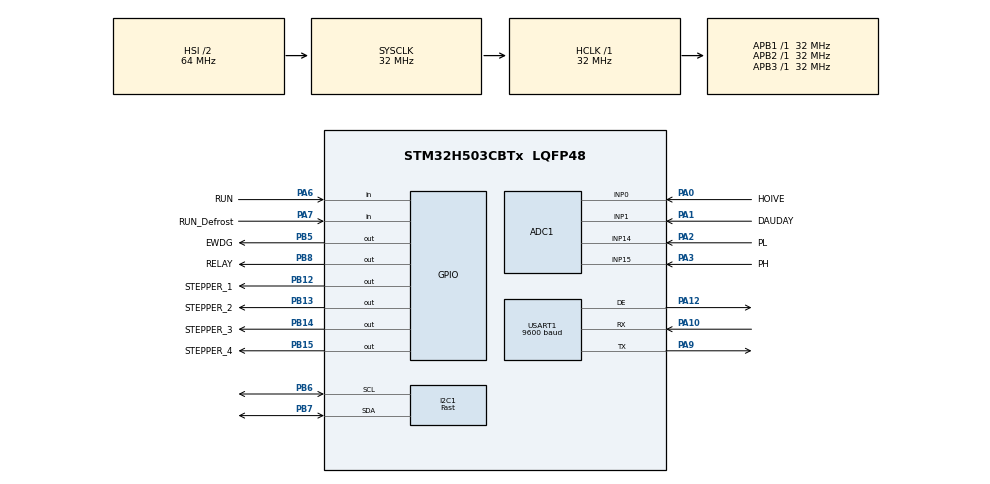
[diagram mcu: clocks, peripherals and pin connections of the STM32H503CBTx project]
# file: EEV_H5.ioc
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ADC1.Channel-3\#ChannelRegularConversion=ADC_CHANNEL_0
ADC1.EnableRegularConversion=ENABLE
ADC1.MonitoredBy-3\#ChannelRegularConversion=__NULL
ADC1.NbrOfConversionFlag=1
ADC1.OffsetNumber-3\#ChannelRegularConversion=ADC_OFFSET_NONE
ADC1.OversamplingMode=DISABLE
ADC1.Rank-3\#ChannelRegularConversion=1
ADC1.SamplingTime-3\#ChannelRegularConversion=ADC_SAMPLETIME_247CYCLES_5
ADC1.master=1
BOOTPATH.BootPathName=LEGACY
BOOTPATH.UserSelectedBootPath=LEGACY
GPDMA1.DESTINC_GPDMACH0=DMA_DINC_INCREMENTED
GPDMA1.DIRECTION_GPDMACH1=DMA_MEMORY_TO_PERIPH
GPDMA1.IPHANDLE_GPDMACH0-SIMPLEREQUEST_GPDMACH0=__NULL
GPDMA1.IPHANDLE_GPDMACH1-SIMPLEREQUEST_GPDMACH1=__NULL
GPDMA1.REQUEST_GPDMACH0=GPDMA1_REQUEST_USART1_RX
GPDMA1.REQUEST_GPDMACH1=GPDMA1_REQUEST_USART1_TX
GPDMA1.SRCINC_GPDMACH1=DMA_SINC_INCREMENTED
GPDMA1.TRANSFERALLOCATEDPORTDEST_GPDMACH0=DMA_DEST_ALLOCATED_PORT1
GPDMA1.TRANSFERALLOCATEDPORTDEST_GPDMACH1=DMA_DEST_ALLOCATED_PORT1
I2C1.I2C_Speed_Mode=I2C_Fast
I2C1.Timing=0x00300F38
IWDG.Prescaler=IWDG_PRESCALER_64
IWDG.Reload=2999
IWDG.Window=0
Mcu.Family=STM32H5
Mcu.Name=STM32H503CBTx
Mcu.Package=LQFP48
NVIC.GPDMA1_Channel0_IRQn=true\:0\:0\:false\:false\:true\:false\:true\:true
NVIC.GPDMA1_Channel1_IRQn=true\:0\:0\:false\:false\:true\:false\:true\:true
NVIC.PriorityGroup=NVIC_PRIORITYGROUP_4
NVIC.TIM2_IRQn=true\:0\:0\:false\:false\:true\:true\:true\:true
NVIC.TIM3_IRQn=true\:0\:0\:false\:false\:true\:true\:true\:true
NVIC.USART1_IRQn=true\:1\:0\:true\:false\:true\:true\:true\:true
PA0.GPIO_Label=HOIVE
PA0.Signal=ADCx_INP0
PA1.GPIO_Label=DAUDAY
PA1.Signal=ADCx_INP1
PA10.Mode=Asynchronous
PA10.Signal=USART1_RX
PA12.Mode=Hardware Flow Control (RS485)
PA12.Signal=USART1_DE
PA2.GPIO_Label=PL
PA2.Signal=ADCx_INP14
PA3.GPIO_Label=PH
PA3.Signal=ADCx_INP15
PA6.GPIO_Label=RUN
PA6.Signal=GPIO_Input
PA7.GPIO_Label=RUN_Defrost
PA7.Signal=GPIO_Input
PA9.Mode=Asynchronous
PA9.Signal=USART1_TX
PB12.GPIO_Label=STEPPER_1
PB12.PinState=GPIO_PIN_SET
PB12.Signal=GPIO_Output
PB13.GPIO_Label=STEPPER_2
PB13.PinState=GPIO_PIN_SET
PB13.Signal=GPIO_Output
PB14.GPIO_Label=STEPPER_3
PB14.PinState=GPIO_PIN_SET
PB14.Signal=GPIO_Output
PB15.GPIO_Label=STEPPER_4
PB15.PinState=GPIO_PIN_SET
PB15.Signal=GPIO_Output
PB5.GPIO_Label=EWDG
PB5.Signal=GPIO_Output
PB6.Mode=I2C
PB6.Signal=I2C1_SCL
PB7.Mode=I2C
PB7.Signal=I2C1_SDA
PB8.GPIO_Label=RELAY
PB8.Signal=GPIO_Output
ProjectManager.HeapSize=0x200
ProjectManager.StackSize=0x400
ProjectManager.TargetToolchain=STM32CubeIDE
RCC.ADCFreq_Value=32000000
RCC.AHBFreq_Value=32000000
RCC.APB1Freq_Value=32000000
RCC.APB1TimFreq_Value=32000000
RCC.APB2Freq_Value=32000000
RCC.APB2TimFreq_Value=32000000
RCC.APB3Freq_Value=32000000
RCC.CSI_VALUE=4000000
RCC.CortexFreq_Value=32000000
RCC.EPOD_VALUE=4000000
RCC.HCLKFreq_Value=32000000
RCC.HSE_VALUE=25000000
RCC.HSI48_VALUE=48000000
RCC.HSI_VALUE=64000000
RCC.LSE_VALUE=32768
RCC.LSIRC_VALUE=32000
RCC.SYSCLKFreq_VALUE=32000000
RCC.USBFreq_Value=48000000
RCC.VCOOutputFreq_Value=516000000
SH.ADCx_INP0.0=ADC1_INP0,IN0-Single-Ended
SH.ADCx_INP1.0=ADC1_INP1,IN1-Single-Ended
SH.ADCx_INP14.0=ADC1_INP14,IN14-Single-Ended
SH.ADCx_INP15.0=ADC1_INP15,IN15-Single-Ended
TIM2.PeriodNoDither=1279
TIM2.Prescaler=999
USART1.BaudRate=9600
USART1.VirtualMode-Asynchronous=VM_ASYNC
USART1.VirtualMode-Hardware\ Flow\ Control\ (RS485)=VM_ASYNC
VP_ADC1_Vref_Input.Mode=IN-Vrefint
VP_BOOTPATH_VS_BOOTPATH.Mode=BP_Activate
VP_CORTEX_M33_NS_VS_Hclk.Mode=Hclk_Mode
VP_GPDMA1_VS_GPDMACH0.Mode=SIMPLEREQUEST_GPDMACH0
VP_GPDMA1_VS_GPDMACH1.Mode=SIMPLEREQUEST_GPDMACH1
VP_IWDG_VS_IWDG.Mode=IWDG_Activate
VP_MEMORYMAP_VS_MEMORYMAP.Mode=CurAppReg
VP_PWR_VS_DBSignals.Mode=DisableDeadBatterySignals
VP_PWR_VS_LPOM.Mode=PowerOptimisation
VP_PWR_VS_SECSignals.Mode=Security/Privilege
VP_TIM2_VS_ClockSourceINT.Mode=Internal
VP_TIM3_VS_ClockSourceINT.Mode=Internal
board=custom

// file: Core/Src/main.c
/* USER CODE BEGIN Header */
/**
  ******************************************************************************
  * @file           : main.c
  * @brief          : Main program body
  ******************************************************************************
  * @attention
  *
  * Copyright (c) 2025 STMicroelectronics.
  * All rights reserved.
  *
  * This software is licensed under terms that can be found in the LICENSE file
  * in the root directory of this software component.
  * If no LICENSE file comes with this software, it is provided AS-IS.
  *
  ******************************************************************************
  */
/* USER CODE END Header */
#include "main.h"

/* USER CODE BEGIN Includes */
#include "Input_parameters.h"
#include "pid_final.h"
#include "stepper_v2.h"
#include "R507_temp_pressure.h"
#include "modbus_slave.h"
#include "stm32h5xx_ll_system.h"
#include "stm32h5xx_ll_gpio.h"
#include "eeprom.h"
/* USER CODE END Includes */

ADC_HandleTypeDef hadc1;

I2C_HandleTypeDef hi2c1;

IWDG_HandleTypeDef hiwdg;

TIM_HandleTypeDef htim2;
TIM_HandleTypeDef htim3;

UART_HandleTypeDef huart1;
DMA_HandleTypeDef handle_GPDMA1_Channel1;
DMA_HandleTypeDef handle_GPDMA1_Channel0;

/* USER CODE BEGIN PV */
Stepper motor;
PID_TypeDef pid;
ModbusHandle modbus_slave;
/* USER CODE END PV */

void SystemClock_Config(void);
static void MX_GPIO_Init(void);
static void MX_GPDMA1_Init(void);
static void MX_ADC1_Init(void);
static void MX_USART1_UART_Init(void);
static void MX_TIM2_Init(void);
static void MX_IWDG_Init(void);
static void MX_I2C1_Init(void);
static void MX_TIM3_Init(void);

/* USER CODE BEGIN 0 */
uint16_t step_position;
float percent_step;
volatile uint8_t state_motor_step;
volatile uint32_t last_time_step;

/////////////////////////////////////////// calcular superheat
float Saturation_temperature;
volatile float delta_temperatute;
float superheat_value(){
	Saturation_temperature = R507_GetTemperature(pressure_sensors.low_pressure_sensor);
	delta_temperatute = temperature_sensors.hoi_ve - Saturation_temperature;
	return delta_temperatute;
}

/////////////////////////////////////////// timer2 calcular pid
volatile uint8_t count = 0;
volatile float output_pid = 0.0f;
volatile int16_t stepp_count = 0;
#define BUFFER_SIZE 64
volatile int16_t stepp_buffer[BUFFER_SIZE];  // Mảng lưu trữ dữ liệu
volatile uint8_t buffer_index = 0;  // Chỉ mục cho mảng

/////////////////////////////////////////// Communication Protocol (Modbus)
volatile uint32_t lastvalidIDTime;
void reset_uart(){
	static uint8_t count_reset = 0;
	  if((uint32_t)(HAL_GetTick() - lastvalidIDTime) >= 6000){
		    // First, disable interrupts
		  if(count_reset <= 2){
			  HAL_UART_AbortReceive(&huart1);
			  HAL_Delay(10);
			  modbus_slave.state = MODBUS_READY;
			  HAL_UARTEx_ReceiveToIdle_DMA(&huart1, modbus_slave.rxBuffer, MODBUS_RX_BUFFER_SIZE);
			  count_reset ++;
			  lastvalidIDTime = HAL_GetTick();
		  }else{
			  // 1. Dừng quá trình truy�?n nhận đang diễn ra
			  HAL_UART_AbortReceive(&huart1);
			  HAL_UART_AbortTransmit(&huart1);
			  // 2. Dừng DMA
			  HAL_UART_DMAStop(&huart1);
			  // 3. Deinit UART
			  HAL_UART_DeInit(&huart1);
			  HAL_Delay(10);  // Ch�? cho quá trình deinit hoàn tất
			  // 4. Khởi tạo lại DMA
			  MX_GPDMA1_Init();
			  HAL_Delay(10);
			  // 5. Khởi tạo lại UART
			  MX_USART1_UART_Init();
			  HAL_Delay(10);
			  // 6. Khởi tạo lại Modbus
			  modbus_slave.state = MODBUS_READY;
			  HAL_UARTEx_ReceiveToIdle_DMA(&huart1, modbus_slave.rxBuffer, MODBUS_RX_BUFFER_SIZE);
			  count_reset = (count_reset <= 6) ? (count_reset + 1) : 0;
			  lastvalidIDTime = HAL_GetTick();
		  }
	  }
}
//////////////////////////////////////////////
int16_t find_max_value() {
	    if (BUFFER_SIZE <= 0) return 0;
	    int16_t max_abs_value = stepp_buffer[0];
	    int16_t abs_max = max_abs_value < 0 ? -max_abs_value : max_abs_value;
	        uint8_t i = 1;
	        for (; i + 3 < BUFFER_SIZE; i += 4) {
	            // Xử lý 4 phần tử mỗi lần
	            int16_t current0 = stepp_buffer[i];
	            int16_t abs0 = current0 < 0 ? -current0 : current0;
	            int update0 = (abs0 > abs_max) || (abs0 == abs_max && current0 > max_abs_value);
	            max_abs_value = update0 ? current0 : max_abs_value;
	            abs_max = update0 ? abs0 : abs_max;

	            int16_t current1 = stepp_buffer[i + 1];
	            int16_t abs1 = current1 < 0 ? -current1 : current1;
	            int update1 = (abs1 > abs_max) || (abs1 == abs_max && current1 > max_abs_value);
	            max_abs_value = update1 ? current1 : max_abs_value;
	            abs_max = update1 ? abs1 : abs_max;

	            int16_t current2 = stepp_buffer[i + 2];
	            int16_t abs2 = current2 < 0 ? -current2 : current2;
	            int update2 = (abs2 > abs_max) || (abs2 == abs_max && current2 > max_abs_value);
	            max_abs_value = update2 ? current2 : max_abs_value;
	            abs_max = update2 ? abs2 : abs_max;

	            int16_t current3 = stepp_buffer[i + 3];
	            int16_t abs3 = current3 < 0 ? -current3 : current3;
	            int update3 = (abs3 > abs_max) || (abs3 == abs_max && current3 > max_abs_value);
	            max_abs_value = update3 ? current3 : max_abs_value;
	            abs_max = update3 ? abs3 : abs_max;
	        }
	        return max_abs_value;
}
void control_stepper(){
	uint32_t current_time = HAL_GetTick();
	float error = fabsf(pid.setpoint - delta_temperatute);
	static const float k = 0.6f;
	static const uint32_t time_min = 500, time_max = 10000;
	uint32_t delay_time = time_min + (uint32_t)((time_max - time_min) / (1.0f + k * error));
	if(((uint32_t)(current_time - last_time_step) >= delay_time) && Stepper_IsMoving(&motor) == 0){
		Stepper_Move(&motor, find_max_value());
		volatile int16_t *ptr = stepp_buffer;
		for (int i = 0; i < BUFFER_SIZE; i += 8) {
		    *ptr++ = 0; *ptr++ = 0; *ptr++ = 0; *ptr++ = 0;
		    *ptr++ = 0; *ptr++ = 0; *ptr++ = 0; *ptr++ = 0;
		}
	}
}
// �?ịnh nghĩa các trạng thái
typedef enum {
    STATE_INIT,         // Trạng thái khởi tạo ban đầu
    STATE_CLOSING,      // �?óng van (500 bước)
    STATE_OPENING,      // Mở van (200 bước)
    STATE_CONTROL_EEV,      // Ch�? 15s
    STATE_IDLE_EEV
} SystemState;
// Biến toàn cục
SystemState current_state_eev = STATE_INIT;
uint32_t timer = 0;
uint8_t init_done = 0;      // C�? đánh dấu đã hoàn thành khởi tạo

int16_t nhiet_do_bat_lam_mat = 85;
int16_t nhiet_do_tat_lam_mat = 75;
void lam_mat_dau_day(){
	if(temperature_sensors.dau_day >= (float)(nhiet_do_bat_lam_mat)){
		HAL_GPIO_WritePin(RELAY_GPIO_Port, RELAY_Pin, GPIO_PIN_RESET);
	}else if(temperature_sensors.dau_day <= (float)(nhiet_do_tat_lam_mat)){
		HAL_GPIO_WritePin(RELAY_GPIO_Port, RELAY_Pin, GPIO_PIN_SET);
	}
}
void convert_setpoint(){
    static const struct {
        float pressure_threshold;
        float target_temp_diff;
    } lookup_table[] = {
        { 23.0f, 5.0f },
        { 20.0f, 7.0f },
        { 17.0f, 9.0f },
        { 15.0f, 11.0f},
        { 0.0f, 13.0f }
    };
    static float last_setpoint = -1;  // Lưu giá trị cũ
    float new_setpoint = pid.setpoint;
    static uint8_t waiting = 0;
    static uint32_t change_time = 0;
    GPIO_PinState state_pin_relay = HAL_GPIO_ReadPin(RELAY_GPIO_Port, RELAY_Pin);
    static uint8_t last_state = 1;
    static uint8_t is_waiting = 0;
    static uint32_t time_changed = 0;
    // Lấy giá trị áp suất
    float high_pressure = pressure_sensors.high_pressure_sensor;

    if(last_state == 0 && state_pin_relay == 1){
    	time_changed = HAL_GetTick();
    	is_waiting = 1;
    }
    last_state = state_pin_relay;

     // Duyệt bảng để tìm giá trị TARGET_TEMP_DIFF phù hợp
    if(state_pin_relay == 1){
    	 uint32_t current_time = HAL_GetTick();
    	 if(!is_waiting || ((uint32_t)(current_time - time_changed) >= 16000)){
             is_waiting = 0;
			 for (int i = 0; i < sizeof(lookup_table) / sizeof(lookup_table[0]); i++) {
				 if (high_pressure >= lookup_table[i].pressure_threshold) {
						 new_setpoint = lookup_table[i].target_temp_diff;
						 break;  // Thoát kh�?i vòng lặp sau khi tìm thấy ngưỡng phù hợp
				 }
			 }
		}
    }

     if(new_setpoint != last_setpoint){
    	 if(!waiting){
    		 change_time = HAL_GetTick();
    		 waiting = 1;
    	 }
    	 if((uint32_t)(HAL_GetTick() - change_time) >= 8000){
    		 pid.setpoint = new_setpoint;
    		 last_setpoint = new_setpoint;
    		 waiting = 0;
    	 }
     }else{
    	 waiting = 0;
     }
}
void control_EEV(){
	static uint8_t check_run_defrost = 0;
	GPIO_PinState pin_state_run = HAL_GPIO_ReadPin(RUN_GPIO_Port, RUN_Pin);
	GPIO_PinState pin_state_run_defrost = HAL_GPIO_ReadPin(RUN_Defrost_GPIO_Port, RUN_Defrost_Pin);
	switch(pin_state_run_defrost){
	case GPIO_PIN_SET:
		if(check_run_defrost == 0 && !Stepper_IsMoving(&motor)){
			check_run_defrost = 1;
        	step_position = 0;
        	percent_step = 0.0f;
            Stepper_Move(&motor, -500);
            current_state_eev = STATE_OPENING;
		}
		break;
	case GPIO_PIN_RESET:
		check_run_defrost = 0;
		   // Xử lý theo trạng thái hiện tại
		    switch(current_state_eev) {
		        case STATE_INIT:
		            // Luôn bắt đầu bằng việc đóng 500 bước khi khởi tạo
		            if(!Stepper_IsMoving(&motor)) {
		            	step_position = 500;
		            	percent_step = 100.0f;
		                Stepper_Move(&motor, 500);
		                current_state_eev = STATE_CLOSING;
		                init_done = 0;  // �?ánh dấu chưa hoàn thành khởi tạo
		            }
		            break;

		        case STATE_CLOSING:
		            if(!Stepper_IsMoving(&motor)) {
		                if(!init_done) {
		                    // Nếu đây là lần đóng đầu tiên (khởi tạo)
		                    init_done = 1;
		                    // Nếu chân input đang ở mức cao, chuyển sang mở
		                    if(pin_state_run == GPIO_PIN_SET) {
		                        Stepper_Move(&motor, -250);
		                        current_state_eev = STATE_OPENING;
		                    } else {
		                    	current_state_eev = STATE_IDLE_EEV;  // Ch�? mức cao
		                    }
		                } else {
		                    // Nếu đây là lần đóng trong quá trình hoạt động bình thư�?ng
		                	current_state_eev = STATE_IDLE_EEV;
		                }
		            }
		            break;

		        case STATE_IDLE_EEV:
		        	if(!Stepper_IsMoving(&motor)){
		        		if(pin_state_run == GPIO_PIN_SET){
		        		    Stepper_Move(&motor, -250);
		        		    current_state_eev = STATE_OPENING;
		        		}
		        	}
		            break;

		        case STATE_OPENING:
		            if(!Stepper_IsMoving(&motor)) {
		                // �?ã mở xong, bắt đầu ch�? 15s
		                timer = HAL_GetTick();
		                current_state_eev = STATE_CONTROL_EEV;
		            }
		            break;

		        case STATE_CONTROL_EEV:
		            if(HAL_GetTick() - timer >= 8000) {
		                control_stepper();
		            }
		            // Nếu trong quá trình ch�? mà chân input chuyển thành mức thấp
		            if(pin_state_run == GPIO_PIN_RESET) {
		            	step_position = step_position + 16;
//		            	percent_step = 100.0f;
		                Stepper_Move(&motor, step_position);
		                current_state_eev = STATE_CLOSING;
		            }
		            break;
		    }
	  break;
	}
}
void test_EEV(){
//	static uint8_t run = 0;
//	if(!Stepper_IsMoving(&motor) && run == 0){
//		Stepper_Move(&motor, 500);
//		run = 1;
//	}

//	if(!Stepper_IsMoving(&motor) && run == 1){
//		Stepper_Move(&motor, -500);
//		run = 0;
//	}
}
void EWDG_Refresh(){
	HAL_GPIO_TogglePin(EWDG_GPIO_Port, EWDG_Pin);
}
void modbus_communication(){
	modbus_slave.holdingRegs[0] = (uint16_t)(pressure_sensors.low_pressure_sensor*100.0f);
	modbus_slave.holdingRegs[1] = (uint16_t)(pressure_sensors.high_pressure_sensor*100.0f);
	modbus_slave.holdingRegs[2] = (int16_t)(temperature_sensors.hoi_ve*10.0f);
	modbus_slave.holdingRegs[3] = (int16_t)(Saturation_temperature*10.0f);
	modbus_slave.holdingRegs[4] = (int16_t)(delta_temperatute*10.0f);
	modbus_slave.holdingRegs[5] = (uint16_t)(pid.setpoint*10.0f);
	modbus_slave.holdingRegs[6] = (uint16_t)(percent_step*10.0f);
	modbus_slave.holdingRegs[7] = (uint16_t)(current_state_eev);
	modbus_slave.holdingRegs[8] = (uint16_t)(HAL_GPIO_ReadPin(RUN_GPIO_Port, RUN_Pin));
	modbus_slave.holdingRegs[9] = (uint16_t)(HAL_GPIO_ReadPin(RUN_Defrost_GPIO_Port, RUN_Defrost_Pin));
}
uint16_t value;

/* USER CODE END 0 */

int main(void)
{

  /* MCU Configuration--------------------------------------------------------*/

  /* Reset of all peripherals, Initializes the Flash interface and the Systick. */
  HAL_Init();

  /* Configure the system clock */
  SystemClock_Config();

  /* Initialize all configured peripherals */
  MX_GPIO_Init();
  MX_GPDMA1_Init();
  MX_ADC1_Init();
  MX_USART1_UART_Init();
  MX_TIM2_Init();
  MX_IWDG_Init();
  MX_I2C1_Init();
  MX_TIM3_Init();
  /* USER CODE BEGIN 2 */
  if(AT24C01_Init(&at24c01, &hi2c1) != HAL_OK){
	  Error_Handler();
  }
//  AT24C01_Write_2_Bytes(&at24c01, 0, 1, nhiet_do_bat_lam_mat);
//  AT24C01_Write_2_Bytes(&at24c01, 2, 3, nhiet_do_tat_lam_mat);
  nhiet_do_bat_lam_mat                        = AT24C01_Read_2_Bytes(&at24c01, 0);
  nhiet_do_tat_lam_mat                        = AT24C01_Read_2_Bytes(&at24c01, 2);
  StepperPins pins = {
  		  .PORT_IN1 = STEPPER_1_GPIO_Port, .PIN_IN1 = STEPPER_1_Pin,
  		  .PORT_IN2 = STEPPER_2_GPIO_Port, .PIN_IN2 = STEPPER_2_Pin,
  		  .PORT_IN3 = STEPPER_3_GPIO_Port, .PIN_IN3 = STEPPER_3_Pin,
  		  .PORT_IN4 = STEPPER_4_GPIO_Port, .PIN_IN4 = STEPPER_4_Pin
  };
  Stepper_Init(&motor, pins);
  PID_Init(&pid, 0.03f, 0.12f, 11.0f);

  ADC_Init(&hadc1);
  Filter_Input_Init();
//  Calcular_Input(&hadc1);
  superheat_value();

  HAL_UART_AbortReceive(&huart1);
  HAL_UART_AbortTransmit(&huart1);
  // 2. Dừng DMA
  HAL_UART_DMAStop(&huart1);
  // 3. Deinit UART
  HAL_UART_DeInit(&huart1);
  HAL_Delay(10);  // Ch�? cho quá trình deinit hoàn tất
  // 4. Khởi tạo lại DMA
  MX_GPDMA1_Init();
  HAL_Delay(10);
  // 5. Khởi tạo lại UART
  MX_USART1_UART_Init();
  HAL_Delay(10);
  Modbus_Init(&modbus_slave, &huart1);

  HAL_TIM_Base_Start_IT(&htim2);

  /* USER CODE END 2 */

  /* Infinite loop */
  while (1)
  {

    /* USER CODE BEGIN 3 */
//	  EWDG_Refresh();
	  static uint32_t start_time = 0;
	  Calcular_Input(&hadc1);
	  superheat_value();
	  convert_setpoint();
	  control_EEV();
//	  test_EEV();
	  uint32_t current_time = HAL_GetTick();
//	  if(current_time - start_time >= 2000){
//		    while (1) {
//		        // Infinite loop; program will get stuck here unless there's a break condition
//		    }
//	  }
	  Data_Write();
	  modbus_communication();
	  reset_uart();
	  HAL_IWDG_Refresh(&hiwdg);
	  EWDG_Refresh();

  }
  /* USER CODE END 3 */
}

void SystemClock_Config(void)
{
  RCC_OscInitTypeDef RCC_OscInitStruct = {0};
  RCC_ClkInitTypeDef RCC_ClkInitStruct = {0};

  /** Configure the main internal regulator output voltage
  */
  __HAL_PWR_VOLTAGESCALING_CONFIG(PWR_REGULATOR_VOLTAGE_SCALE3);

  while(!__HAL_PWR_GET_FLAG(PWR_FLAG_VOSRDY)) {}

  /** Initializes the RCC Oscillators according to the specified parameters
  * in the RCC_OscInitTypeDef structure.
  */
  RCC_OscInitStruct.OscillatorType = RCC_OSCILLATORTYPE_HSI|RCC_OSCILLATORTYPE_LSI;
  RCC_OscInitStruct.HSIState = RCC_HSI_ON;
  RCC_OscInitStruct.HSIDiv = RCC_HSI_DIV2;
  RCC_OscInitStruct.HSICalibrationValue = RCC_HSICALIBRATION_DEFAULT;
  RCC_OscInitStruct.LSIState = RCC_LSI_ON;
  RCC_OscInitStruct.PLL.PLLState = RCC_PLL_NONE;
  if (HAL_RCC_OscConfig(&RCC_OscInitStruct) != HAL_OK)
  {
    Error_Handler();
  }

  /** Initializes the CPU, AHB and APB buses clocks
  */
  RCC_ClkInitStruct.ClockType = RCC_CLOCKTYPE_HCLK|RCC_CLOCKTYPE_SYSCLK
                              |RCC_CLOCKTYPE_PCLK1|RCC_CLOCKTYPE_PCLK2
                              |RCC_CLOCKTYPE_PCLK3;
  RCC_ClkInitStruct.SYSCLKSource = RCC_SYSCLKSOURCE_HSI;
  RCC_ClkInitStruct.AHBCLKDivider = RCC_SYSCLK_DIV1;
  RCC_ClkInitStruct.APB1CLKDivider = RCC_HCLK_DIV1;
  RCC_ClkInitStruct.APB2CLKDivider = RCC_HCLK_DIV1;
  RCC_ClkInitStruct.APB3CLKDivider = RCC_HCLK_DIV1;

  if (HAL_RCC_ClockConfig(&RCC_ClkInitStruct, FLASH_LATENCY_1) != HAL_OK)
  {
    Error_Handler();
  }

  /** Configure the programming delay
  */
  __HAL_FLASH_SET_PROGRAM_DELAY(FLASH_PROGRAMMING_DELAY_0);
}

static void MX_ADC1_Init(void)
{

  ADC_ChannelConfTypeDef sConfig = {0};

  /** Common config
  */
  hadc1.Instance = ADC1;
  hadc1.Init.ClockPrescaler = ADC_CLOCK_ASYNC_DIV1;
  hadc1.Init.Resolution = ADC_RESOLUTION_12B;
  hadc1.Init.DataAlign = ADC_DATAALIGN_RIGHT;
  hadc1.Init.ScanConvMode = ADC_SCAN_DISABLE;
  hadc1.Init.EOCSelection = ADC_EOC_SINGLE_CONV;
  hadc1.Init.LowPowerAutoWait = DISABLE;
  hadc1.Init.ContinuousConvMode = DISABLE;
  hadc1.Init.NbrOfConversion = 1;
  hadc1.Init.DiscontinuousConvMode = DISABLE;
  hadc1.Init.ExternalTrigConv = ADC_SOFTWARE_START;
  hadc1.Init.ExternalTrigConvEdge = ADC_EXTERNALTRIGCONVEDGE_NONE;
  hadc1.Init.DMAContinuousRequests = DISABLE;
  hadc1.Init.SamplingMode = ADC_SAMPLING_MODE_NORMAL;
  hadc1.Init.Overrun = ADC_OVR_DATA_PRESERVED;
  hadc1.Init.OversamplingMode = DISABLE;
  if (HAL_ADC_Init(&hadc1) != HAL_OK)
  {
    Error_Handler();
  }

  /** Configure Regular Channel
  */
  sConfig.Channel = ADC_CHANNEL_0;
  sConfig.Rank = ADC_REGULAR_RANK_1;
  sConfig.SamplingTime = ADC_SAMPLETIME_247CYCLES_5;
  sConfig.SingleDiff = ADC_SINGLE_ENDED;
  sConfig.OffsetNumber = ADC_OFFSET_NONE;
  sConfig.Offset = 0;
  if (HAL_ADC_ConfigChannel(&hadc1, &sConfig) != HAL_OK)
  {
    Error_Handler();
  }

}

static void MX_GPDMA1_Init(void)
{

  /* Peripheral clock enable */
  __HAL_RCC_GPDMA1_CLK_ENABLE();

  /* GPDMA1 interrupt Init */
    HAL_NVIC_SetPriority(GPDMA1_Channel0_IRQn, 0, 0);
    HAL_NVIC_EnableIRQ(GPDMA1_Channel0_IRQn);
    HAL_NVIC_SetPriority(GPDMA1_Channel1_IRQn, 0, 0);
    HAL_NVIC_EnableIRQ(GPDMA1_Channel1_IRQn);

}

static void MX_I2C1_Init(void)
{

  hi2c1.Instance = I2C1;
  hi2c1.Init.Timing = 0x00300F38;
  hi2c1.Init.OwnAddress1 = 0;
  hi2c1.Init.AddressingMode = I2C_ADDRESSINGMODE_7BIT;
  hi2c1.Init.DualAddressMode = I2C_DUALADDRESS_DISABLE;
  hi2c1.Init.OwnAddress2 = 0;
  hi2c1.Init.OwnAddress2Masks = I2C_OA2_NOMASK;
  hi2c1.Init.GeneralCallMode = I2C_GENERALCALL_DISABLE;
  hi2c1.Init.NoStretchMode = I2C_NOSTRETCH_DISABLE;
  if (HAL_I2C_Init(&hi2c1) != HAL_OK)
  {
    Error_Handler();
  }

  /** Configure Analogue filter
  */
  if (HAL_I2CEx_ConfigAnalogFilter(&hi2c1, I2C_ANALOGFILTER_ENABLE) != HAL_OK)
  {
    Error_Handler();
  }

  /** Configure Digital filter
  */
  if (HAL_I2CEx_ConfigDigitalFilter(&hi2c1, 0) != HAL_OK)
  {
    Error_Handler();
  }

}

static void MX_IWDG_Init(void)
{

  hiwdg.Instance = IWDG;
  hiwdg.Init.Prescaler = IWDG_PRESCALER_64;
  hiwdg.Init.Window = 0;
  hiwdg.Init.Reload = 2999;
  hiwdg.Init.EWI = 0;
  if (HAL_IWDG_Init(&hiwdg) != HAL_OK)
  {
    Error_Handler();
  }
  /* USER CODE BEGIN IWDG_Init 2 */
  hiwdg.Init.Window = IWDG_WINDOW_DISABLE;
  if (HAL_IWDG_Init(&hiwdg) != HAL_OK)
  {
    Error_Handler();
  }
  /* USER CODE END IWDG_Init 2 */

}

static void MX_TIM2_Init(void)
{

  TIM_ClockConfigTypeDef sClockSourceConfig = {0};
  TIM_MasterConfigTypeDef sMasterConfig = {0};

  htim2.Instance = TIM2;
  htim2.Init.Prescaler = 999;
  htim2.Init.CounterMode = TIM_COUNTERMODE_UP;
  htim2.Init.Period = 1279;
  htim2.Init.ClockDivision = TIM_CLOCKDIVISION_DIV1;
  htim2.Init.AutoReloadPreload = TIM_AUTORELOAD_PRELOAD_DISABLE;
  if (HAL_TIM_Base_Init(&htim2) != HAL_OK)
  {
    Error_Handler();
  }
  sClockSourceConfig.ClockSource = TIM_CLOCKSOURCE_INTERNAL;
  if (HAL_TIM_ConfigClockSource(&htim2, &sClockSourceConfig) != HAL_OK)
  {
    Error_Handler();
  }
  sMasterConfig.MasterOutputTrigger = TIM_TRGO_RESET;
  sMasterConfig.MasterSlaveMode = TIM_MASTERSLAVEMODE_DISABLE;
  if (HAL_TIMEx_MasterConfigSynchronization(&htim2, &sMasterConfig) != HAL_OK)
  {
    Error_Handler();
  }

}

static void MX_TIM3_Init(void)
{

  TIM_ClockConfigTypeDef sClockSourceConfig = {0};
  TIM_MasterConfigTypeDef sMasterConfig = {0};

  htim3.Instance = TIM3;
  htim3.Init.Prescaler = 0;
  htim3.Init.CounterMode = TIM_COUNTERMODE_UP;
  htim3.Init.Period = 65535;
  htim3.Init.ClockDivision = TIM_CLOCKDIVISION_DIV1;
  htim3.Init.AutoReloadPreload = TIM_AUTORELOAD_PRELOAD_DISABLE;
  if (HAL_TIM_Base_Init(&htim3) != HAL_OK)
  {
    Error_Handler();
  }
  sClockSourceConfig.ClockSource = TIM_CLOCKSOURCE_INTERNAL;
  if (HAL_TIM_ConfigClockSource(&htim3, &sClockSourceConfig) != HAL_OK)
  {
    Error_Handler();
  }
  sMasterConfig.MasterOutputTrigger = TIM_TRGO_RESET;
  sMasterConfig.MasterSlaveMode = TIM_MASTERSLAVEMODE_DISABLE;
  if (HAL_TIMEx_MasterConfigSynchronization(&htim3, &sMasterConfig) != HAL_OK)
  {
    Error_Handler();
  }

}

static void MX_USART1_UART_Init(void)
{

  huart1.Instance = USART1;
  huart1.Init.BaudRate = 9600;
  huart1.Init.WordLength = UART_WORDLENGTH_8B;
  huart1.Init.StopBits = UART_STOPBITS_1;
  huart1.Init.Parity = UART_PARITY_NONE;
  huart1.Init.Mode = UART_MODE_TX_RX;
  huart1.Init.HwFlowCtl = UART_HWCONTROL_NONE;
  huart1.Init.OverSampling = UART_OVERSAMPLING_16;
  huart1.Init.OneBitSampling = UART_ONE_BIT_SAMPLE_DISABLE;
  huart1.Init.ClockPrescaler = UART_PRESCALER_DIV1;
  huart1.AdvancedInit.AdvFeatureInit = UART_ADVFEATURE_NO_INIT;
  if (HAL_RS485Ex_Init(&huart1, UART_DE_POLARITY_HIGH, 0, 0) != HAL_OK)
  {
    Error_Handler();
  }
  if (HAL_UARTEx_SetTxFifoThreshold(&huart1, UART_TXFIFO_THRESHOLD_1_8) != HAL_OK)
  {
    Error_Handler();
  }
  if (HAL_UARTEx_SetRxFifoThreshold(&huart1, UART_RXFIFO_THRESHOLD_1_8) != HAL_OK)
  {
    Error_Handler();
  }
  if (HAL_UARTEx_DisableFifoMode(&huart1) != HAL_OK)
  {
    Error_Handler();
  }

}

static void MX_GPIO_Init(void)
{
  GPIO_InitTypeDef GPIO_InitStruct = {0};

  /* GPIO Ports Clock Enable */
  __HAL_RCC_GPIOA_CLK_ENABLE();
  __HAL_RCC_GPIOB_CLK_ENABLE();

  /*Configure GPIO pin Output Level */
  HAL_GPIO_WritePin(GPIOB, STEPPER_1_Pin|STEPPER_2_Pin|STEPPER_3_Pin|STEPPER_4_Pin, GPIO_PIN_SET);

  /*Configure GPIO pin Output Level */
  HAL_GPIO_WritePin(GPIOB, EWDG_Pin|RELAY_Pin, GPIO_PIN_RESET);

  /*Configure GPIO pins : RUN_Pin RUN_Defrost_Pin */
  GPIO_InitStruct.Pin = RUN_Pin|RUN_Defrost_Pin;
  GPIO_InitStruct.Mode = GPIO_MODE_INPUT;
  GPIO_InitStruct.Pull = GPIO_NOPULL;
  HAL_GPIO_Init(GPIOA, &GPIO_InitStruct);

  /*Configure GPIO pins : STEPPER_1_Pin STEPPER_2_Pin STEPPER_3_Pin STEPPER_4_Pin
                           EWDG_Pin RELAY_Pin */
  GPIO_InitStruct.Pin = STEPPER_1_Pin|STEPPER_2_Pin|STEPPER_3_Pin|STEPPER_4_Pin
                          |EWDG_Pin|RELAY_Pin;
  GPIO_InitStruct.Mode = GPIO_MODE_OUTPUT_PP;
  GPIO_InitStruct.Pull = GPIO_NOPULL;
  GPIO_InitStruct.Speed = GPIO_SPEED_FREQ_LOW;
  HAL_GPIO_Init(GPIOB, &GPIO_InitStruct);

}

/* USER CODE BEGIN 4 */
uint32_t test_callback = 0;
void HAL_UARTEx_RxEventCallback(UART_HandleTypeDef *huart, uint16_t Size)
{
    if (huart == modbus_slave.huart)
    {
    	   if(modbus_slave.state == MODBUS_READY){
    		   test_callback = Size;
    	       Modbus_UartRxCpltCallback(&modbus_slave, Size);
    	   }
    }
}
void HAL_UART_TxCpltCallback(UART_HandleTypeDef *huart)
{
    if (huart == modbus_slave.huart)
    {
    	lastvalidIDTime = HAL_GetTick();
    	modbus_slave.state = MODBUS_READY;
    	HAL_UARTEx_ReceiveToIdle_DMA(modbus_slave.huart, modbus_slave.rxBuffer, MODBUS_RX_BUFFER_SIZE);
    }
}
void HAL_TIM_PeriodElapsedCallback(TIM_HandleTypeDef *htim) {
    if (htim->Instance == TIM2) {
    	count ++;
    	if(count >= 3){
            output_pid = PID_Calculate(&pid, delta_temperatute);
            float step_val = output_pid * 5.0f;
            stepp_count = (int16_t)step_val;
            // Lưu giá trị vào mảng, chỉ mục quay vòng khi đạt BUFFER_SIZE
            stepp_buffer[buffer_index] = stepp_count;
            buffer_index = (buffer_index + 1) % BUFFER_SIZE;
    	    count = 0;
    	}
        Stepper_Run(&motor);
    }
}

/* USER CODE END 4 */

void Error_Handler(void)
{
  __disable_irq();
  while (1)
  {
  }
}
